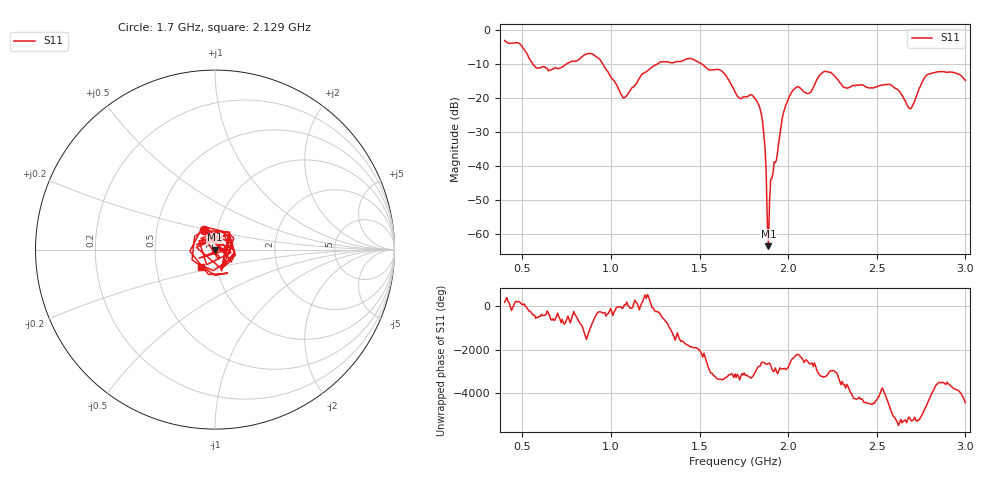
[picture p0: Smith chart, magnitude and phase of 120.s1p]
!Created with skrf (http://scikit-rf.org).
# Hz S RI R 50.0
!freq ReS11 ImS11
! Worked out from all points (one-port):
!   401 points, 400 MHz to 3 GHz, reference 50 ohm
!   lowest |S11| = -63.4 dB at 1.889 GHz (marker M1), VSWR 1.00, Z = 50 - j0.0608 ohm
!   |S11| at or under -10 dB: 560.1 MHz to 747.5 MHz (187.4 MHz wide, 28.7 % of centre); 954.9 MHz to 1.26 GHz (305.2 MHz wide, 27.6 % of centre); 1.514 GHz to end of sweep
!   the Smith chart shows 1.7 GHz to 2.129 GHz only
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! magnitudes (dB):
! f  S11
! 400 MHz  -3.0
! 484.5 MHz  -3.9
! 582 MHz  -11.1
! 725 MHz  -10.7
! 894 MHz  -7.0
! 1.05 GHz  -18.0
! 1.083 GHz  -19.6
! 1.271 GHz  -9.6
! 1.375 GHz  -9.2
! 1.615 GHz  -11.7
! 1.7 GHz  -18.1
! 1.798 GHz  -19.1
! 1.837 GHz  -22.2
! 1.863 GHz  -30.5
! 1.875 GHz  -41.0
! 1.889 GHz  -63.4
! 1.895 GHz  -50.2
! 1.915 GHz  -42.0
! 1.973 GHz  -24.3
! 2.025 GHz  -17.8
! 2.116 GHz  -18.6
! 2.213 GHz  -12.1
! 2.35 GHz  -16.7
! 2.578 GHz  -16.0
! 2.675 GHz  -22.4
! 2.701 GHz  -22.2
! 2.792 GHz  -12.9
! 3 GHz  -14.7
